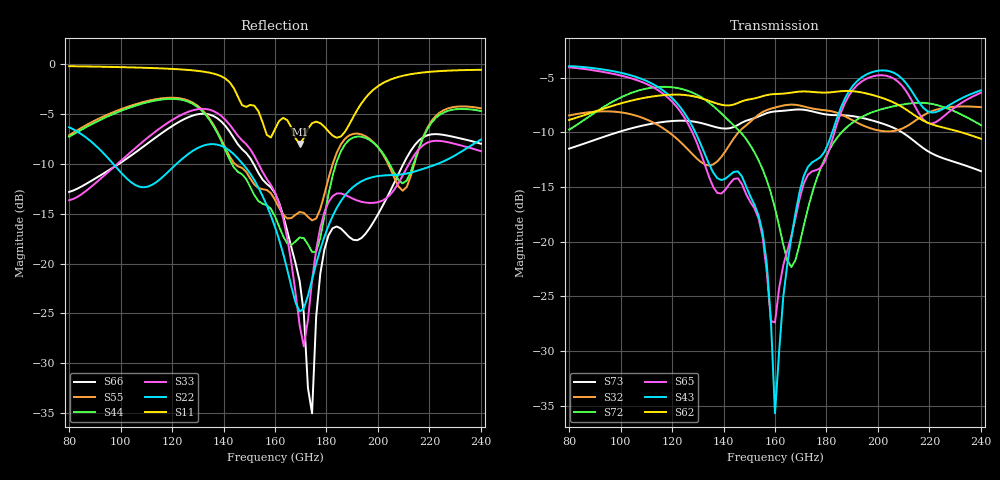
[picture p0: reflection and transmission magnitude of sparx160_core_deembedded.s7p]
! Created with skrf 2.1.0 (http://scikit-rf.org).
# GHz S DB R 50.0
!freq dBS11 angS11 dBS12 angS12 dBS13 angS13
! dBS14 angS14 dBS15 angS15 dBS16 angS16 dBS17 angS17
! dBS21 angS21 dBS22 angS22 dBS23 angS23
! dBS24 angS24 dBS25 angS25 dBS26 angS26 dBS27 angS27
! dBS31 angS31 dBS32 angS32 dBS33 angS33
! dBS34 angS34 dBS35 angS35 dBS36 angS36 dBS37 angS37
! dBS41 angS41 dBS42 angS42 dBS43 angS43
! dBS44 angS44 dBS45 angS45 dBS46 angS46 dBS47 angS47
! dBS51 angS51 dBS52 angS52 dBS53 angS53
! dBS54 angS54 dBS55 angS55 dBS56 angS56 dBS57 angS57
! dBS61 angS61 dBS62 angS62 dBS63 angS63
! dBS64 angS64 dBS65 angS65 dBS66 angS66 dBS67 angS67
! dBS71 angS71 dBS72 angS72 dBS73 angS73
! dBS74 angS74 dBS75 angS75 dBS76 angS76 dBS77 angS77
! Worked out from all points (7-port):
!   101 points, 80 GHz to 240 GHz, reference 50 ohm
!   strongest paths, dB at 80 GHz, 120 GHz, 160 GHz, 200 GHz, 240 GHz:
!     S62: -8.9, -6.6, -6.5, -6.7, -10.6
!     S43: -4.0, -6.9, -35.7, -4.4, -6.2
!     S65: -4.1, -7.2, -27.4, -4.8, -6.4
!     S72: -9.8, -5.9, -16.9, -8.0, -9.3
!     S32: -8.5, -10.2, -7.7, -9.8, -7.7
!     S73: -11.5, -9.0, -8.1, -9.1, -13.5
!   lowest |S11| = -8.0 dB at 169.6 GHz (marker M1), VSWR 2.32, Z = 21.7 + j4.65 ohm
!   |S11| at or under -10 dB: nowhere
